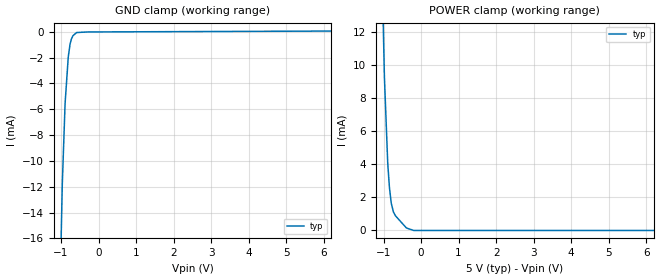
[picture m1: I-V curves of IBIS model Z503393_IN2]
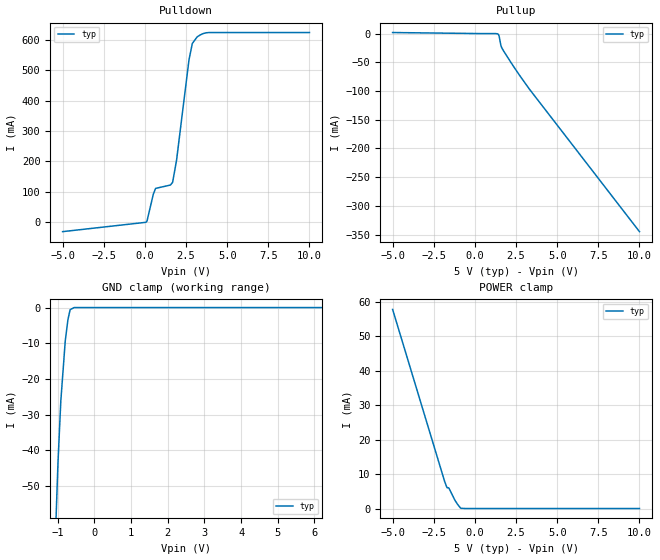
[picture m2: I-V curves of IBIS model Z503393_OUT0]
[IBIS Ver] 3.1
[File Name] mc100h607fn_pecl.ibs
[File Rev] 1.0
[Source] Derived from MC100H641FN_PECL.IBS measured
|   and created by ICX Technology
[Date]   3/24/2003
[Copyright]
| (C) COPYRIGHT 1993-2000
| MENTOR GRAPHICS CORPORATION
| ICX STANDARD LIBRARY, ICX PROJECT MODELING,
| ICX CUSTOM MODELING, ICX VENDOR MODEL
| ALL RIGHTS RESERVED.
| THE FOLLOWING ARE TRADEMARKS OR SERVICE MARKS OF
| MENTOR GRAPHICS CORPORATION:ICX (R), ICX STANDARD
| LIBRARY(R), ICX PROJECT MODELING(R), ICX CUSTOM
| MODELING(R), qualityIBIS(TM), MODELVIEWER(TM),
| AND MODELEDITOR(TM)
| ALL COPIES OF SOFTWARE, INCLUDING BUT NOT LIMITED TO
| ANY MODIFICATIONS, ENHANCEMENTS OR DERIVATIVE WORKS,
| MUST CONTAIN ALL MENTOR GRAPHICS CORPORATION'S
| NOTICES AND LEGENDS, INCLUDING THOSE EMBEDDED IN
| SOFTWARE AND THOSE AFFIXED TO SOFTWARE MEDIUM
| AND CONTAINER, AS RECEIVED FROM MENTOR GRAPHICS
| CORPORATION.
|  ZAP Model Builder 2.7
[Component] MC100H607FN_PECL
[Manufacturer] OnSemiconductor
[Package]
| variable   typ   min   max
R_pkg  .083ohms NA NA
L_pkg  4.299nH NA NA
C_pkg  1.045pF NA NA
[Pin] signal_name  model_name  R_pin  L_pin C_pin
1 TGND GND .086 4.583n 1.135p
2 CLK Z503393_IN2 .082 4.14n .995p
3 _CLK Z503393_IN2 .082 4.14n .995p
4 VBB POWER .086 4.583n 1.135p
5 D0 Z503393_IN2 .082 4.14n .995p
6 _D0 Z503393_IN2 .082 4.14n .995p
7 EGND GND .086 4.583n 1.135p
8 D1 Z503393_IN2 .082 4.14n .995p
9 _D1 Z503393_IN2 .082 4.14n .995p
10 D2 Z503393_IN2 .082 4.14n .995p
11 _D2 Z503393_IN2 .082 4.14n .995p
12 D3 Z503393_IN2 .082 4.14n .995p
13 _D3 Z503393_IN2 .082 4.14n .995p
14 VCCE POWER .082 4.14n .995p
15 D4 Z503393_IN2 .082 4.14n .995p
16 _D4 Z503393_IN2 .082 4.14n .995p
17 D5 Z503393_IN2 .082 4.14n .995p
18 _D5 Z503393_IN2 .082 4.14n .995p
19 MR Z503393_IN2 .082 4.14n .995p
20 VCCT POWER .082 4.14n .995p
21 Q5 Z503393_OUT0 .08 3.94n .925p
22 TGND GND .086 4.583n 1.135p
23 Q4 Z503393_OUT0 .08 3.94n .925p
24 VCCT POWER .082 4.14n .995p
25 Q3 Z503393_OUT0 .08 3.94n .925p
26 Q2 Z503393_OUT0 .08 3.94n .925p
27 Q1 Z503393_OUT0 .08 3.94n .925p
28 Q0 Z503393_OUT0 .08 3.94n .925p
[Diff Pin] inv_pin vdiff tdelay_typ tdelay_min tdelay_max
5 6 200mv NA NA NA
8 9 200mv NA NA NA
10 11 200mv NA NA NA
12 13 200mv NA NA NA
15 16 200mv NA NA NA
17 18 200mv NA NA NA
| Models and submodels in the file (2): Z503393_IN2 (Input), Z503393_OUT0 (Output)
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| (C) COPYRIGHT 1993-2000
| MENTOR GRAPHICS CORPORATION
| ICX STANDARD LIBRARY, ICX PROJECT MODELING,
| ICX CUSTOM MODELING, ICX VENDOR MODEL
| ALL RIGHTS RESERVED.
| THE FOLLOWING ARE TRADEMARKS OR SERVICE MARKS OF
| MENTOR GRAPHICS CORPORATION:ICX (R), ICX STANDARD
| LIBRARY(R), ICX PROJECT MODELING(R), ICX CUSTOM
| MODELING(R), qualityIBIS(TM), MODELVIEWER(TM),
| AND MODELEDITOR(TM)
| ALL COPIES OF SOFTWARE, INCLUDING BUT NOT LIMITED TO
| ANY MODIFICATIONS, ENHANCEMENTS OR DERIVATIVE WORKS,
| MUST CONTAIN ALL MENTOR GRAPHICS CORPORATION'S
| NOTICES AND LEGENDS, INCLUDING THOSE EMBEDDED IN
| SOFTWARE AND THOSE AFFIXED TO SOFTWARE MEDIUM
| AND CONTAINER, AS RECEIVED FROM MENTOR GRAPHICS
| CORPORATION.
| Model Application Version 1.89 2/18/99.
[Model] Z503393_IN2
Model_type Input
Vinl = 3.525V
Vinh = 3.835V
C_comp 1.000pF NA NA
| variable typ   min   max
[Voltage Range] 5.000V NA NA
[GND Clamp Reference] 0.000V NA NA
[POWER Clamp Reference] 5.000V NA NA
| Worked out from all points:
|   GND clamp passes 1 mA (typ) near -0.76 V on its own axis
|   POWER clamp passes 1 mA (typ) near -0.71 V on its own axis
[GND Clamp]
-5V       -560.8mA   NA         NA
-966.6mV  -11.84mA   NA         NA
-892.1mV  -5.563mA   NA         NA
-807.2mV  -1.95mA    NA         NA
-760mV    -960.1uA   NA         NA
-722.8mV  -557.1uA   NA         NA
-683.4mV  -313.6uA   NA         NA
-586.6mV  -63.18uA   NA         NA
-293.3mV  -17.47uA   NA         NA
10V       93.16uA    NA         NA
[POWER Clamp]
-5V       426.2mA    NA         NA
-977mV    9.311mA    NA         NA
-888mV    4.068mA    NA         NA
-844mV    2.635mA    NA         NA
-795mV    1.661mA    NA         NA
-737mV    1.125mA    NA         NA
-682mV    887.9uA    NA         NA
-391mV    153.1uA    NA         NA
-195.5mV  0A         NA         NA
10V       0A         NA         NA
| (C) COPYRIGHT 1993-2000
| MENTOR GRAPHICS CORPORATION
| ICX STANDARD LIBRARY, ICX PROJECT MODELING,
| ICX CUSTOM MODELING, ICX VENDOR MODEL
| ALL RIGHTS RESERVED.
| THE FOLLOWING ARE TRADEMARKS OR SERVICE MARKS OF
| MENTOR GRAPHICS CORPORATION:ICX (R), ICX STANDARD
| LIBRARY(R), ICX PROJECT MODELING(R), ICX CUSTOM
| MODELING(R), qualityIBIS(TM), MODELVIEWER(TM),
| AND MODELEDITOR(TM)
| ALL COPIES OF SOFTWARE, INCLUDING BUT NOT LIMITED TO
| ANY MODIFICATIONS, ENHANCEMENTS OR DERIVATIVE WORKS,
| MUST CONTAIN ALL MENTOR GRAPHICS CORPORATION'S
| NOTICES AND LEGENDS, INCLUDING THOSE EMBEDDED IN
| SOFTWARE AND THOSE AFFIXED TO SOFTWARE MEDIUM
| AND CONTAINER, AS RECEIVED FROM MENTOR GRAPHICS
| CORPORATION.
| Model Application Version 1.89 2/18/99.
[Model] Z503393_OUT0
Model_type Output
Vref=0.000V
Rref=500.0Mohms
Cref=50.00pF
Vmeas=1.500V
C_comp 1.000pF NA NA
| variable typ   min   max
[Voltage Range] 5.000V NA NA
[POWER Clamp Reference] 5.000V NA NA
[Pullup Reference] 5.000V NA NA
[Pulldown Reference] 0.000V NA NA
[GND Clamp Reference] 0.000V NA NA
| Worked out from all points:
|   slope of the pulldown table from 0 to 0.75 V, typ, clamps not added: 6.61 ohm
|   slope of the pullup table from 0 to 0.75 V, typ, clamps not added: 3.79 kohm
|   GND clamp passes 1 mA (typ) near -0.67 V on its own axis
|   POWER clamp passes 1 mA (typ) near -1.02 V on its own axis
[GND Clamp]
-5V       -2.112A    NA         NA
-1.162V   -104.5mA   NA         NA
-1.067V   -66.32mA   NA         NA
-991.1mV  -43.75mA   NA         NA
-912.7mV  -26.16mA   NA         NA
-791mV    -9.241mA   NA         NA
-718.9mV  -3.411mA   NA         NA
-659.2mV  -585.6uA   NA         NA
-549.3mV  0A         NA         NA
10V       0A         NA         NA
[Pulldown]
-5V       -31.97mA   NA         NA
127.8mV   3.031mA    NA         NA
510.3mV   91.35mA    NA         NA
649.5mV   110.6mA    NA         NA
1.553V    121.8mA    NA         NA
1.685V    130.8mA    NA         NA
1.923V    203.5mA    NA         NA
2.678V    534.3mA    NA         NA
2.881V    588.4mA    NA         NA
3.174V    610.1mA    NA         NA
3.899V    624.5mA    NA         NA
10V       624.5mA    NA         NA
[Pullup]
-5V       1.827mA    NA         NA
1.401V    -746uA     NA         NA
1.475V    -4.992mA   NA         NA
1.579V    -20.82mA   NA         NA
1.748V    -30.52mA   NA         NA
2.696V    -71.91mA   NA         NA
3.31V     -96.64mA   NA         NA
10V       -344.8mA   NA         NA
[POWER Clamp]
-5V       57.76mA    NA         NA
-1.841V   7.884mA    NA         NA
-1.7V     6.08mA     NA         NA
-1.65V    6.012mA    NA         NA
-1.6V     6.012mA    NA         NA
-1.581V   5.927mA    NA         NA
-1.21V    2.364mA    NA         NA
-1.05V    1.193mA    NA         NA
-869mV    113.4uA    NA         NA
-811mV    55.18uA    NA         NA
-540.7mV  0A         NA         NA
10V       0A         NA         NA
[Ramp]
| variable typ min max
dV/dt_r 2.059/2.310n NA NA
dV/dt_f 2.059/1.010n NA NA
R_load = 500.0Ohms
